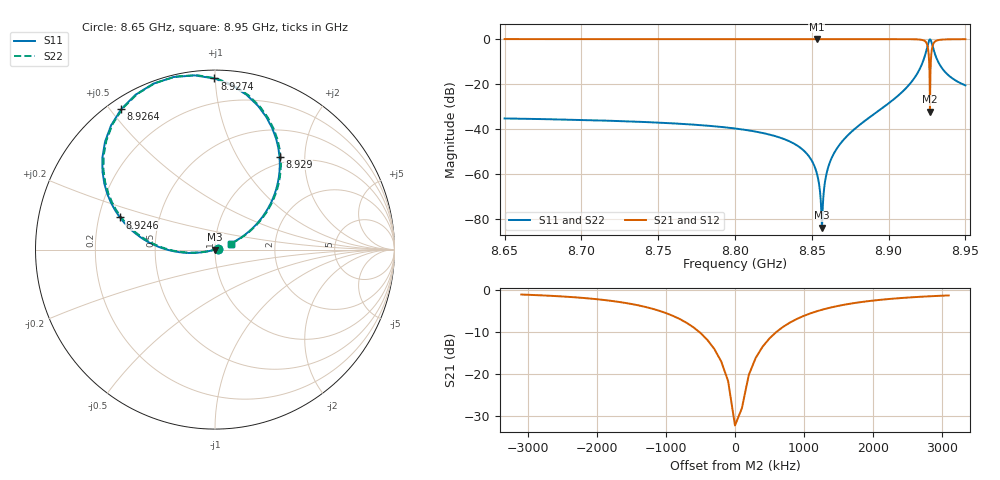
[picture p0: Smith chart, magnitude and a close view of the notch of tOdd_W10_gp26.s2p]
! Sonnet Data File
! From: emgraph Version : 16.52
! From Project: transmon_trial2
! Data is De-embedded
! Data File Written: 10/19/2017 21:40:57
!< HDATE 10/19/2017 20:11:27
!< MDATE 10/19/2017 20:13:29
!< PARAMS
!< Lj = 15.24
!< Gap = 26.0
!< Width = 10.0
!< Airgap = 6.0
!< Pwidth = 2000.0
!< END PARAMS
# GHZ S MA R 34.70000
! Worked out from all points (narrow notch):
!   3001 points, 8.65 GHz to 8.95 GHz, reference 34.7 ohm
!   highest |S21| = 0.00 dB at 8.8532 GHz (marker M1); lowest = -32.2 dB at 8.9269 GHz (marker M2)
!   notch at M2: 32.2 dB deep, 528 kHz wide at half that depth
!   lowest |S11| = -83.7 dB at 8.8566 GHz (marker M3), VSWR 1.00, Z = 34.7 - j0.00432 ohm
!   |S11| at or under -10 dB: start of sweep to 8.9223 GHz; 8.932214 GHz to end of sweep
!   |S22| runs from -83.1 to -0.1 dB; largest |S21 - S12| = 0
!   S11 on the Smith chart (normalised r, x): 8.65 GHz: 1.03, +0.01; 8.9246 GHz: 0.29, +0.15; 8.9264 GHz: 0.04, +0.53; 8.9274 GHz: 0.05, +1.00; 8.929 GHz: 0.89, +1.53; 8.95 GHz: 1.19, +0.08
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8.65  0.01733 18.8  0.9998 -71.3  0.9998 -71.3  0.01733 18.5
!< P1 F=8.65 Eeff=(5.13426974 -5.6456e-5) Z0=(34.6544633 -9.2759e-5) R=0.0 C=0.0
!< P2 F=8.65 Eeff=(5.13426974 -5.6456e-5) Z0=(34.6544633 -9.2759e-5) R=0.0 C=0.0
8.7  0.01604 18.3  0.9999 -71.8  0.9999 -71.8  0.01604 18.1
8.75  0.01401 17.7  0.9999 -72.4  0.9999 -72.4  0.01401 17.5
8.8  0.01038 17.0  0.9999 -73.0  0.9999 -73.0  0.01038 17.0
8.8337  0.005718 16.1  1 -73.5  1 -73.5  0.005718 16.8
8.85  0.001999 14.6  1 -73.9  1 -73.9  0.002 17.7
8.8532  0.001077 12.9  1 -74.0  1 -74.0  0.001077 19.4
8.8557  0.0003029 3.8  1 -74.0  1 -74.0  0.0003039 28.9
8.8566  6.536e-05 -72.3  1 -74.1  1 -74.1  7.01e-05 104.2
8.8606  0.001403 -161.2  1 -74.2  1 -74.2  0.001404 -167.4
8.8667  0.003902 -163.1  1 -74.4  1 -74.4  0.003902 -165.8
8.9  0.03748 -166.2  0.9992 -76.6  0.9992 -76.6  0.03748 -167.1
8.9164  0.131 -171.8  0.9911 -82.1  0.9911 -82.1  0.131 -172.6
8.9223  0.313 177.3  0.9485 -92.8  0.9485 -92.8  0.313 176.6
8.9246  0.559 161.3  0.8249 -108.6  0.8249 -108.6  0.559 160.6
8.9264  0.9404 123.8  0.3107 -144.7  0.3107 -144.7  0.9404 123.1
8.9269  0.9892 107.0  0.02462 -138.1  0.02462 -138.1  0.9892 106.3
8.9274  0.9535 90.2  0.268 -2.3  0.268 -2.3  0.9535 89.5
8.929  0.6302 55.2  0.7712 -35.6  0.7712 -35.6  0.6302 54.5
8.9309  0.3995 39.5  0.9151 -51.1  0.9151 -51.1  0.3995 38.8
8.9338  0.2533 30.4  0.9668 -60.0  0.9668 -60.0  0.2533 29.7
8.95  0.0939 20.9  0.9955 -69.5  0.9955 -69.5  0.0939 20.3
